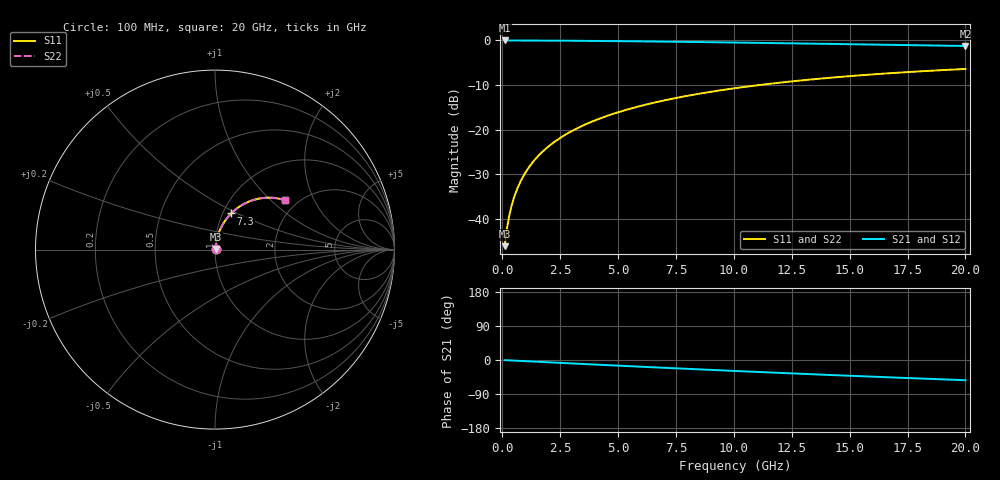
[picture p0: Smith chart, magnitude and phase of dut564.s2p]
! Touchstone file exported from HFSS 2026.1.0
!  File:  C:/ffzhzh/LocalFiles/Ansys_Project_Files/temp_train_TMRDL_564_1783007923_4048.aedt
!  Generated:  12:00:27 AM Jul  3, 2026
!  Design:  TMRDL
!  Project:  temp_train_TMRDL_564_1783007923_4048
! Variables:
!  h_bsmrdl = 2um
!  h_ox = 20um
!  h_rdl = 5um
!  h_sub = 80um
!  h_tmrdl = 5.3um
!  h_tsv = 80um
!  h_via = 3um
!  l_bsmrdl = 300um
!  l_sub = 1220.74um
!  l_tmrdl = 820.74um
!  m_sub = 200um
!  pitch = 43.7um
!  r_tsv = 6um
!  s_tmrdl = 10um
!  w_bsmrdl = 18um
!  w_sub = 500um
!  w_tmrdl = 15.82um
!  x_tsv_center1 = 828.65um
!  x_tsv_center2 = 1146.65um
!  x_tsv_center3 = 1983.21um
!  x_tsv_center4 = 2301.21um
!  x_tsv_center5 = 3137.77um
!  x_tsv_center6 = 3455.77um
# GHz S MA R 50.000000
! Terminal data exported
! Port[1] = TM_RDL1_1_T1
! Port[2] = TM_RDL1_1_T2
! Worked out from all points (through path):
!   200 points, 100 MHz to 20 GHz, reference 50 ohm
!   highest |S21| = -0.03 dB at 100 MHz (marker M1); lowest = -1.3 dB at 20 GHz (marker M2)
!   group delay of S21, straight-line fit = 7.41 ps
!   lowest |S11| = -46.1 dB at 100 MHz (marker M3), VSWR 1.01, Z = 50.4 + j0.348 ohm
!   |S11| at or under -10 dB: start of sweep to 11.11 GHz
!   |S22| runs from -46.1 to -6.4 dB; largest |S21 - S12| = 5.3e-15
!   S11 on the Smith chart (normalised r, x): 100 MHz: 1.01, +0.01; 7.3 GHz: 1.10, +0.46; 20 GHz: 1.73, +1.23
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0.1  0.004966 44.1  0.9964 -0.3  0.9964 -0.3  0.004966 44.1
! Gamma 0 0 0 0
! Port Impedance 50 0 50 0
0.2  0.007793 61.1  0.9963 -0.6  0.9963 -0.6  0.007793 61.1
0.3  0.01087 68.4  0.9961 -0.9  0.9961 -0.9  0.01087 68.4
0.4  0.014 72.3  0.996 -1.2  0.996 -1.2  0.014 72.3
0.5  0.01715 74.8  0.9958 -1.5  0.9958 -1.5  0.01715 74.8
0.6  0.02033 76.4  0.9957 -1.9  0.9957 -1.9  0.02033 76.4
0.8  0.02671 78.3  0.9954 -2.5  0.9954 -2.5  0.02671 78.3
1.1  0.03633 79.6  0.9949 -3.4  0.9949 -3.4  0.03633 79.6
1.5  0.04916 79.8  0.994 -4.6  0.994 -4.6  0.04916 79.8
1.8  0.05874 79.6  0.9933 -5.5  0.9933 -5.5  0.05874 79.6
2.1  0.06827 79.1  0.9924 -6.4  0.9924 -6.4  0.06827 79.1
2.7  0.08712 77.9  0.9903 -8.2  0.9903 -8.2  0.08712 77.9
3.5  0.1118 75.9  0.9869 -10.6  0.9869 -10.6  0.1118 75.9
4.2  0.1329 74.1  0.9835 -12.6  0.9835 -12.6  0.1329 74.1
5  0.1565 72.0  0.9793 -14.9  0.9793 -14.9  0.1565 72.0
6.8  0.2073 67.2  0.9683 -20.0  0.9683 -20.0  0.2073 67.2
7.3  0.2209 65.9  0.9649 -21.4  0.9649 -21.4  0.2209 65.9
8.6  0.2551 62.5  0.9557 -25.0  0.9557 -25.0  0.2551 62.5
10.1  0.2924 58.6  0.9444 -29.1  0.9444 -29.1  0.2924 58.6
13.4  0.366 50.3  0.9175 -37.7  0.9175 -37.7  0.366 50.3
16.7  0.4278 42.5  0.8902 -45.7  0.8902 -45.7  0.4278 42.5
20  0.4781 35.0  0.8644 -53.4  0.8644 -53.4  0.4781 35.0
